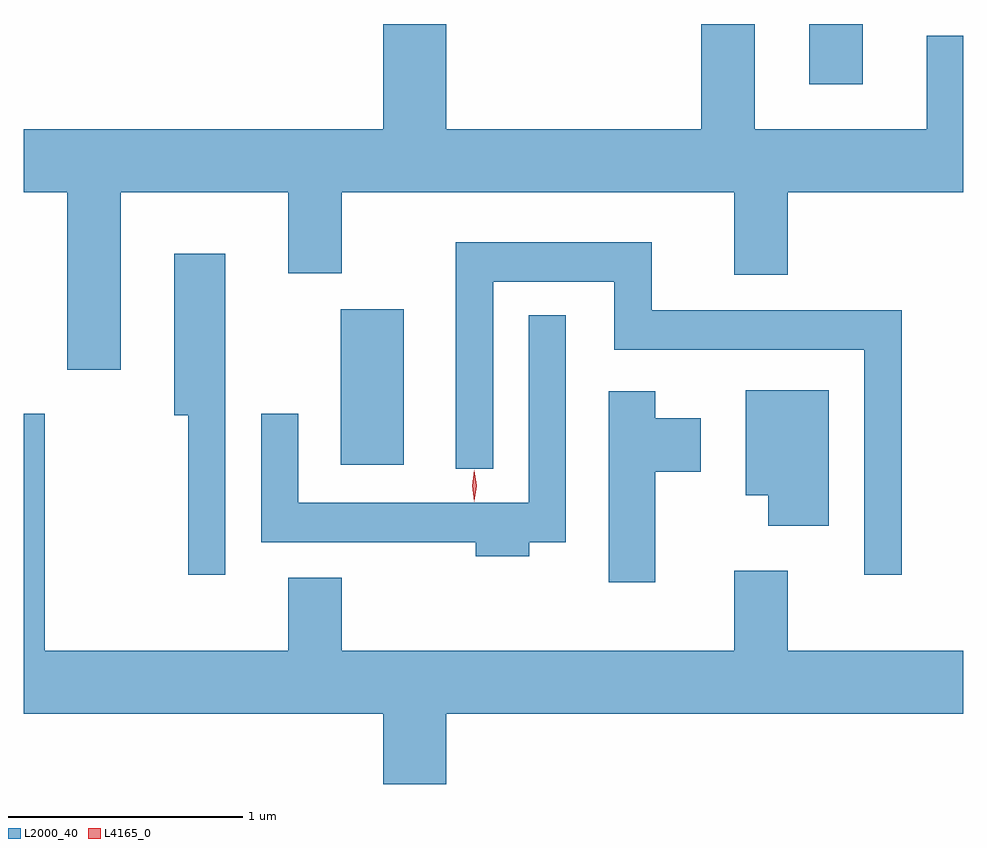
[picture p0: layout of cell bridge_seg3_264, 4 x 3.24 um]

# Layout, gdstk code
import gdstk
lib = gdstk.Library(unit=1e-6, precision=1e-09)
def R(c, l, rs):  # rectangles x0, y0, x1, y1
    for r in rs: c.add(gdstk.rectangle(r[:2], r[2:], *l))
def P(c, l, *ps):  # polygons
    for p in ps: c.add(gdstk.Polygon(p, *l))
L2000_40 = (2000, 40)
L4165_0 = (4165, 0)

bridge_seg3_264 = lib.new_cell('bridge_seg3_264')
R(bridge_seg3_264, L2000_40, [(1074.036,1135.956,1074.304,1136.619), (1076.031,1137.576,1076.259,1137.833)])
P(bridge_seg3_264, L2000_40, [(1073.099,1137.116),(1073.811,1137.116),(1073.811,1136.771),(1074.039,1136.771),(1074.039,1137.116),(1075.711,1137.116),(1075.711,1136.766),(1075.939,1136.766),(1075.939,1137.116),(1076.686,1137.116),(1076.686,1137.784),(1076.531,1137.784),(1076.531,1137.384),(1075.799,1137.384),(1075.799,1137.833),(1075.571,1137.833),(1075.571,1137.384),(1074.484,1137.384),(1074.484,1137.833),(1074.216,1137.833),(1074.216,1137.384),(1072.686,1137.384),(1072.686,1137.116),(1072.871,1137.116),(1072.871,1136.361),(1073.099,1136.361)],
  [(1076.424,1136.614),(1075.359,1136.614),(1075.359,1136.904),(1074.526,1136.904),(1074.526,1135.938),(1074.684,1135.938),(1074.684,1136.736),(1075.201,1136.736),(1075.201,1136.446),(1076.266,1136.446),(1076.266,1135.488),(1076.424,1135.488)],
  [(1073.544,1136.854),(1073.326,1136.854),(1073.326,1136.166),(1073.386,1136.166),(1073.386,1135.488),(1073.544,1135.488)],
  [(1074.839,1135.626),(1074.994,1135.626),(1074.994,1136.593),(1074.836,1136.593),(1074.836,1135.794),(1073.854,1135.794),(1073.854,1136.173),(1073.696,1136.173),(1073.696,1135.626),(1074.611,1135.626),(1074.611,1135.566),(1074.839,1135.566)],
  [(1076.114,1136.274),(1075.761,1136.274),(1075.761,1135.826),(1075.856,1135.826),(1075.856,1135.696),(1076.114,1135.696)],
  [(1075.374,1135.926),(1075.569,1135.926),(1075.569,1136.154),(1075.374,1136.154),(1075.374,1136.269),(1075.176,1136.269),(1075.176,1135.456),(1075.374,1135.456)],
  [(1074.484,1134.896),(1076.686,1134.896),(1076.686,1135.164),(1075.939,1135.164),(1075.939,1135.504),(1075.711,1135.504),(1075.711,1135.164),(1074.039,1135.164),(1074.039,1135.474),(1073.811,1135.474),(1073.811,1135.164),(1072.774,1135.164),(1072.774,1136.174),(1072.686,1136.174),(1072.686,1134.896),(1074.216,1134.896),(1074.216,1134.596),(1074.484,1134.596)])
P(bridge_seg3_264, L4165_0, [(1074.605,1135.799),(1074.604,1135.8),(1074.595,1135.866),(1074.604,1135.932),(1074.605,1135.933),(1074.605,1135.932),(1074.615,1135.866),(1074.605,1135.8)])

lib.write_gds('bridge_seg3_264.gds')
